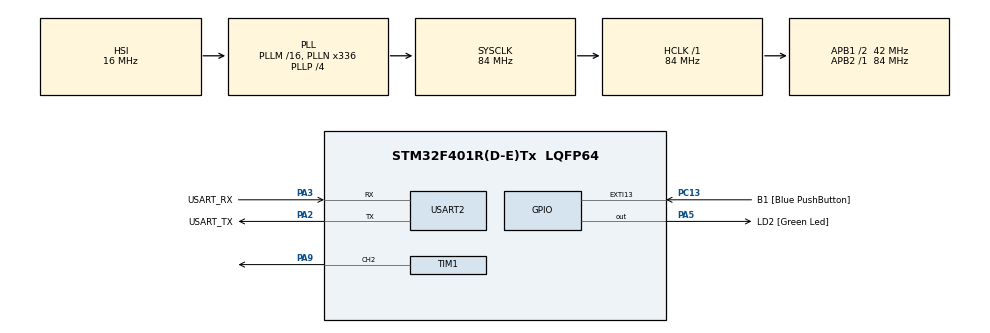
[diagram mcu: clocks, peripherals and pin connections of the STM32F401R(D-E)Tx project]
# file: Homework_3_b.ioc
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Mcu.Family=STM32F4
Mcu.Name=STM32F401R(D-E)Tx
Mcu.Package=LQFP64
NVIC.PriorityGroup=NVIC_PRIORITYGROUP_0
NVIC.TIM3_IRQn=true\:0\:0\:false\:false\:true\:true\:true\:true
PA13.GPIO_Label=TMS
PA13.Mode=Serial_Wire
PA13.Signal=SYS_JTMS-SWDIO
PA14.GPIO_Label=TCK
PA14.Mode=Serial_Wire
PA14.Signal=SYS_JTCK-SWCLK
PA2.GPIO_Label=USART_TX
PA2.GPIO_Mode=GPIO_MODE_AF_PP
PA2.GPIO_PuPd=GPIO_NOPULL
PA2.GPIO_Speed=GPIO_SPEED_FREQ_LOW
PA2.Mode=Asynchronous
PA2.Signal=USART2_TX
PA3.GPIO_Label=USART_RX
PA3.GPIO_Mode=GPIO_MODE_AF_PP
PA3.GPIO_PuPd=GPIO_NOPULL
PA3.GPIO_Speed=GPIO_SPEED_FREQ_LOW
PA3.Mode=Asynchronous
PA3.Signal=USART2_RX
PA5.GPIO_Label=LD2 [Green Led]
PA5.GPIO_Mode=GPIO_MODE_OUTPUT_PP
PA5.GPIO_PuPd=GPIO_NOPULL
PA5.GPIO_Speed=GPIO_SPEED_FREQ_LOW
PA5.Signal=GPIO_Output
PA9.Signal=S_TIM1_CH2
PB3.GPIO_Label=SWO
PB3.Signal=SYS_JTDO-SWO
PC13-ANTI_TAMP.GPIO_Label=B1 [Blue PushButton]
PC13-ANTI_TAMP.GPIO_ModeDefaultEXTI=GPIO_MODE_IT_FALLING
PC13-ANTI_TAMP.GPIO_PuPd=GPIO_NOPULL
PC13-ANTI_TAMP.Signal=GPXTI13
PC14-OSC32_IN.Mode=LSE-External-Oscillator
PC14-OSC32_IN.Signal=RCC_OSC32_IN
PC15-OSC32_OUT.Mode=LSE-External-Oscillator
PC15-OSC32_OUT.Signal=RCC_OSC32_OUT
PH0\ -\ OSC_IN.Mode=HSE-External-Clock-Source
PH0\ -\ OSC_IN.Signal=RCC_OSC_IN
PH1\ -\ OSC_OUT.Mode=HSE-External-Clock-Source
PH1\ -\ OSC_OUT.Signal=RCC_OSC_OUT
ProjectManager.HeapSize=0x200
ProjectManager.StackSize=0x400
ProjectManager.TargetToolchain=STM32CubeIDE
RCC.48MHZClocksFreq_Value=48000000
RCC.AHBFreq_Value=84000000
RCC.APB1CLKDivider=RCC_HCLK_DIV2
RCC.APB1Freq_Value=42000000
RCC.APB1TimFreq_Value=84000000
RCC.APB2Freq_Value=84000000
RCC.APB2TimFreq_Value=84000000
RCC.CortexFreq_Value=84000000
RCC.HCLKFreq_Value=84000000
RCC.HSE_VALUE=8000000
RCC.HSI_VALUE=16000000
RCC.PLLN=336
RCC.PLLP=RCC_PLLP_DIV4
RCC.PLLQ=7
RCC.SYSCLKFreq_VALUE=84000000
RCC.SYSCLKSource=RCC_SYSCLKSOURCE_PLLCLK
RCC.VCOOutputFreq_Value=336000000
SH.S_TIM1_CH2.0=TIM1_CH2,PWM Generation2 CH2
TIM1.Channel-PWM\ Generation2\ CH2=TIM_CHANNEL_2
TIM1.Period=1908
TIM1.Prescaler=99
TIM1.Pulse-PWM\ Generation2\ CH2=954
TIM3.Period=9999
TIM3.Prescaler=8399
TIM3.TIM_MasterOutputTrigger=TIM_TRGO_UPDATE
USART2.VirtualMode=VM_ASYNC
VP_TIM1_VS_ClockSourceINT.Mode=Internal
VP_TIM3_VS_ClockSourceINT.Mode=Internal
board=NUCLEO-F401RE

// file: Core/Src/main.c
/* USER CODE BEGIN Header */
/**
  ******************************************************************************
  * @file           : main.c
  * @brief          : Main program body
  ******************************************************************************
  * @attention
  *
  * Copyright (c) 2024 STMicroelectronics.
  * All rights reserved.
  *
  * This software is licensed under terms that can be found in the LICENSE file
  * in the root directory of this software component.
  * If no LICENSE file comes with this software, it is provided AS-IS.
  *
  ******************************************************************************
  */
/* USER CODE END Header */
#include "main.h"

/* USER CODE BEGIN PTD */

struct note
{
	int tone;
	int duration;
};

/* USER CODE END PTD */

/* USER CODE BEGIN PD */

#define DO4		3205
#define DOD4	3031
#define RE4		2856
#define RED4 	2699
#define MI4		2544
#define FA4		2405
#define FAD4	2269
#define SOL4 	2141
#define SOLD4	2141
#define LA4 	1908
#define LAD4	1801
#define SI4		1699

#define TEMPO	75

#define GREEN_LED_PIN GPIOA, GPIO_PIN_5

/* USER CODE END PD */

TIM_HandleTypeDef htim1;
TIM_HandleTypeDef htim3;

UART_HandleTypeDef huart2;

/* USER CODE BEGIN PV */

/** London Bridge Partition **/
struct note partition [] =
{
		{SOL4, 6},
		{LA4, 2},
		{SOL4, 4},
		{FA4, 4},
		{MI4, 4},
		{FA4, 4},
		{SOL4, 8},
		{RE4, 4},
		{MI4, 4},
		{FA4, 8},
		{MI4, 4},
		{FA4, 4},
		{SOL4, 8},
		{SOL4, 6},
		{LA4, 2},
		{SOL4, 4},
		{FA4, 4},
		{MI4, 4},
		{FA4, 4},
		{SOL4, 8},
		{RE4, 8},
		{SOL4, 8},
		{MI4, 4},
		{DO4, 12},
};

/* USER CODE END PV */

void SystemClock_Config(void);
static void MX_GPIO_Init(void);
static void MX_USART2_UART_Init(void);
static void MX_TIM1_Init(void);
static void MX_TIM3_Init(void);

/* USER CODE BEGIN 0 */

uint8_t flag_timer = 0; // Timer flag

/**
 * Reconfigure the TIMER with the correct parameters
 */
void SetTone (int tone) {
 __HAL_TIM_SET_AUTORELOAD(&htim1, tone);               // Change the freq
 __HAL_TIM_SET_COMPARE(&htim1, TIM_CHANNEL_2, tone / 2);  // DC of 0.5
 __HAL_TIM_SET_COUNTER(&htim1, 0);
}

/**
 * Copied from MX_TIM1_INIT and modified
 *
 * @note_playing	The note played from the partition
 **/
void PlayNote(struct note note_playing)
{
  TIM_ClockConfigTypeDef sClockSourceConfig = {0};
  TIM_MasterConfigTypeDef sMasterConfig = {0};
  TIM_OC_InitTypeDef sConfigOC = {0};

  htim1.Instance = TIM1;
  htim1.Init.Prescaler = 99;
  htim1.Init.CounterMode = TIM_COUNTERMODE_UP;
  htim1.Init.Period = note_playing.tone;
  htim1.Init.ClockDivision = TIM_CLOCKDIVISION_DIV1;
  htim1.Init.RepetitionCounter = 0;
  htim1.Init.AutoReloadPreload = TIM_AUTORELOAD_PRELOAD_DISABLE;
  if (HAL_TIM_Base_Init(&htim1) != HAL_OK)
  {
    Error_Handler();
  }
  sClockSourceConfig.ClockSource = TIM_CLOCKSOURCE_INTERNAL;
  if (HAL_TIM_ConfigClockSource(&htim1, &sClockSourceConfig) != HAL_OK)
  {
    Error_Handler();
  }
  if (HAL_TIM_PWM_Init(&htim1) != HAL_OK)
  {
    Error_Handler();
  }
  sMasterConfig.MasterOutputTrigger = TIM_TRGO_RESET;
  sMasterConfig.MasterSlaveMode = TIM_MASTERSLAVEMODE_DISABLE;
  if (HAL_TIMEx_MasterConfigSynchronization(&htim1, &sMasterConfig) != HAL_OK)
  {
    Error_Handler();
  }
  sConfigOC.OCMode = TIM_OCMODE_PWM1;
  sConfigOC.Pulse = note_playing.tone / 2;
  sConfigOC.OCPolarity = TIM_OCPOLARITY_HIGH;
  sConfigOC.OCNPolarity = TIM_OCNPOLARITY_HIGH;
  sConfigOC.OCFastMode = TIM_OCFAST_DISABLE;
  sConfigOC.OCIdleState = TIM_OCIDLESTATE_RESET;
  sConfigOC.OCNIdleState = TIM_OCNIDLESTATE_RESET;
  if (HAL_TIM_PWM_ConfigChannel(&htim1, &sConfigOC, TIM_CHANNEL_2) != HAL_OK)
  {
    Error_Handler();
  }

  SetTone(note_playing.tone);
   HAL_TIM_PWM_Start(&htim1, TIM_CHANNEL_2);
   flag_timer = 0;
   __HAL_TIM_SET_AUTORELOAD(&htim3, (TEMPO * 10 * note_playing.duration) - 1);
   HAL_TIM_Base_Start_IT(&htim3);
   while (flag_timer == 0) {
   }
   HAL_TIM_PWM_Stop(&htim1, TIM_CHANNEL_2);
   HAL_TIM_Base_Stop_IT(&htim3);
}

/**
 * @brief Play the music
 **/
void PlayMusic(void)
{
	int length = sizeof(partition) / sizeof(partition[0]); // Get the number of notes in the partition

	for (int i = 0; i < length; i++)
	{
		PlayNote(partition[i]); 	// For each notes
	}
}

/**
 * @brief Callback function for Timer 3
 *
 * @param htim The timer
 */
void HAL_TIM_PeriodElapsedCallback(TIM_HandleTypeDef *htim)
{
   // Check if it's TIM3 that caused the interrupt
   if (htim->Instance == TIM3)
   {
	   // Toggle the LED pin
	   HAL_GPIO_TogglePin(GREEN_LED_PIN);
	   // pull up the timer flag to exit the while loop in PlayNote
	   flag_timer = 1;
   }
}

/* USER CODE END 0 */

int main(void)
{

  /* MCU Configuration--------------------------------------------------------*/

  /* Reset of all peripherals, Initializes the Flash interface and the Systick. */
  HAL_Init();

  /* Configure the system clock */
  SystemClock_Config();

  /* Initialize all configured peripherals */
  MX_GPIO_Init();
  MX_USART2_UART_Init();
  MX_TIM1_Init();
  MX_TIM3_Init();
  /* USER CODE BEGIN 2 */
  HAL_TIM_Base_Start_IT(&htim3); 					// Start the timer in interruption mode
  PlayMusic();				/** Start the music **/
  /* USER CODE END 2 */

  /* Infinite loop */
  while (1)
  {

  }
}

void SystemClock_Config(void)
{
  RCC_OscInitTypeDef RCC_OscInitStruct = {0};
  RCC_ClkInitTypeDef RCC_ClkInitStruct = {0};

  /** Configure the main internal regulator output voltage
  */
  __HAL_RCC_PWR_CLK_ENABLE();
  __HAL_PWR_VOLTAGESCALING_CONFIG(PWR_REGULATOR_VOLTAGE_SCALE2);

  /** Initializes the RCC Oscillators according to the specified parameters
  * in the RCC_OscInitTypeDef structure.
  */
  RCC_OscInitStruct.OscillatorType = RCC_OSCILLATORTYPE_HSI;
  RCC_OscInitStruct.HSIState = RCC_HSI_ON;
  RCC_OscInitStruct.HSICalibrationValue = RCC_HSICALIBRATION_DEFAULT;
  RCC_OscInitStruct.PLL.PLLState = RCC_PLL_ON;
  RCC_OscInitStruct.PLL.PLLSource = RCC_PLLSOURCE_HSI;
  RCC_OscInitStruct.PLL.PLLM = 16;
  RCC_OscInitStruct.PLL.PLLN = 336;
  RCC_OscInitStruct.PLL.PLLP = RCC_PLLP_DIV4;
  RCC_OscInitStruct.PLL.PLLQ = 7;
  if (HAL_RCC_OscConfig(&RCC_OscInitStruct) != HAL_OK)
  {
    Error_Handler();
  }

  /** Initializes the CPU, AHB and APB buses clocks
  */
  RCC_ClkInitStruct.ClockType = RCC_CLOCKTYPE_HCLK|RCC_CLOCKTYPE_SYSCLK
                              |RCC_CLOCKTYPE_PCLK1|RCC_CLOCKTYPE_PCLK2;
  RCC_ClkInitStruct.SYSCLKSource = RCC_SYSCLKSOURCE_PLLCLK;
  RCC_ClkInitStruct.AHBCLKDivider = RCC_SYSCLK_DIV1;
  RCC_ClkInitStruct.APB1CLKDivider = RCC_HCLK_DIV2;
  RCC_ClkInitStruct.APB2CLKDivider = RCC_HCLK_DIV1;

  if (HAL_RCC_ClockConfig(&RCC_ClkInitStruct, FLASH_LATENCY_2) != HAL_OK)
  {
    Error_Handler();
  }
}

static void MX_TIM1_Init(void)
{

  TIM_ClockConfigTypeDef sClockSourceConfig = {0};
  TIM_MasterConfigTypeDef sMasterConfig = {0};
  TIM_OC_InitTypeDef sConfigOC = {0};
  TIM_BreakDeadTimeConfigTypeDef sBreakDeadTimeConfig = {0};

  htim1.Instance = TIM1;
  htim1.Init.Prescaler = 99;
  htim1.Init.CounterMode = TIM_COUNTERMODE_UP;
  htim1.Init.Period = 1908;
  htim1.Init.ClockDivision = TIM_CLOCKDIVISION_DIV1;
  htim1.Init.RepetitionCounter = 0;
  htim1.Init.AutoReloadPreload = TIM_AUTORELOAD_PRELOAD_DISABLE;
  if (HAL_TIM_Base_Init(&htim1) != HAL_OK)
  {
    Error_Handler();
  }
  sClockSourceConfig.ClockSource = TIM_CLOCKSOURCE_INTERNAL;
  if (HAL_TIM_ConfigClockSource(&htim1, &sClockSourceConfig) != HAL_OK)
  {
    Error_Handler();
  }
  if (HAL_TIM_PWM_Init(&htim1) != HAL_OK)
  {
    Error_Handler();
  }
  sMasterConfig.MasterOutputTrigger = TIM_TRGO_RESET;
  sMasterConfig.MasterSlaveMode = TIM_MASTERSLAVEMODE_DISABLE;
  if (HAL_TIMEx_MasterConfigSynchronization(&htim1, &sMasterConfig) != HAL_OK)
  {
    Error_Handler();
  }
  sConfigOC.OCMode = TIM_OCMODE_PWM1;
  sConfigOC.Pulse = 954;
  sConfigOC.OCPolarity = TIM_OCPOLARITY_HIGH;
  sConfigOC.OCNPolarity = TIM_OCNPOLARITY_HIGH;
  sConfigOC.OCFastMode = TIM_OCFAST_DISABLE;
  sConfigOC.OCIdleState = TIM_OCIDLESTATE_RESET;
  sConfigOC.OCNIdleState = TIM_OCNIDLESTATE_RESET;
  if (HAL_TIM_PWM_ConfigChannel(&htim1, &sConfigOC, TIM_CHANNEL_2) != HAL_OK)
  {
    Error_Handler();
  }
  sBreakDeadTimeConfig.OffStateRunMode = TIM_OSSR_DISABLE;
  sBreakDeadTimeConfig.OffStateIDLEMode = TIM_OSSI_DISABLE;
  sBreakDeadTimeConfig.LockLevel = TIM_LOCKLEVEL_OFF;
  sBreakDeadTimeConfig.DeadTime = 0;
  sBreakDeadTimeConfig.BreakState = TIM_BREAK_DISABLE;
  sBreakDeadTimeConfig.BreakPolarity = TIM_BREAKPOLARITY_HIGH;
  sBreakDeadTimeConfig.AutomaticOutput = TIM_AUTOMATICOUTPUT_DISABLE;
  if (HAL_TIMEx_ConfigBreakDeadTime(&htim1, &sBreakDeadTimeConfig) != HAL_OK)
  {
    Error_Handler();
  }
  HAL_TIM_MspPostInit(&htim1);

}

static void MX_TIM3_Init(void)
{

  TIM_ClockConfigTypeDef sClockSourceConfig = {0};
  TIM_MasterConfigTypeDef sMasterConfig = {0};

  htim3.Instance = TIM3;
  htim3.Init.Prescaler = 8399;
  htim3.Init.CounterMode = TIM_COUNTERMODE_UP;
  htim3.Init.Period = 9999;
  htim3.Init.ClockDivision = TIM_CLOCKDIVISION_DIV1;
  htim3.Init.AutoReloadPreload = TIM_AUTORELOAD_PRELOAD_DISABLE;
  if (HAL_TIM_Base_Init(&htim3) != HAL_OK)
  {
    Error_Handler();
  }
  sClockSourceConfig.ClockSource = TIM_CLOCKSOURCE_INTERNAL;
  if (HAL_TIM_ConfigClockSource(&htim3, &sClockSourceConfig) != HAL_OK)
  {
    Error_Handler();
  }
  sMasterConfig.MasterOutputTrigger = TIM_TRGO_UPDATE;
  sMasterConfig.MasterSlaveMode = TIM_MASTERSLAVEMODE_DISABLE;
  if (HAL_TIMEx_MasterConfigSynchronization(&htim3, &sMasterConfig) != HAL_OK)
  {
    Error_Handler();
  }

}

static void MX_USART2_UART_Init(void)
{

  huart2.Instance = USART2;
  huart2.Init.BaudRate = 115200;
  huart2.Init.WordLength = UART_WORDLENGTH_8B;
  huart2.Init.StopBits = UART_STOPBITS_1;
  huart2.Init.Parity = UART_PARITY_NONE;
  huart2.Init.Mode = UART_MODE_TX_RX;
  huart2.Init.HwFlowCtl = UART_HWCONTROL_NONE;
  huart2.Init.OverSampling = UART_OVERSAMPLING_16;
  if (HAL_UART_Init(&huart2) != HAL_OK)
  {
    Error_Handler();
  }

}

static void MX_GPIO_Init(void)
{
  GPIO_InitTypeDef GPIO_InitStruct = {0};

  /* GPIO Ports Clock Enable */
  __HAL_RCC_GPIOC_CLK_ENABLE();
  __HAL_RCC_GPIOH_CLK_ENABLE();
  __HAL_RCC_GPIOA_CLK_ENABLE();
  __HAL_RCC_GPIOB_CLK_ENABLE();

  /*Configure GPIO pin Output Level */
  HAL_GPIO_WritePin(LD2_GPIO_Port, LD2_Pin, GPIO_PIN_RESET);

  /*Configure GPIO pin : B1_Pin */
  GPIO_InitStruct.Pin = B1_Pin;
  GPIO_InitStruct.Mode = GPIO_MODE_IT_FALLING;
  GPIO_InitStruct.Pull = GPIO_NOPULL;
  HAL_GPIO_Init(B1_GPIO_Port, &GPIO_InitStruct);

  /*Configure GPIO pin : LD2_Pin */
  GPIO_InitStruct.Pin = LD2_Pin;
  GPIO_InitStruct.Mode = GPIO_MODE_OUTPUT_PP;
  GPIO_InitStruct.Pull = GPIO_NOPULL;
  GPIO_InitStruct.Speed = GPIO_SPEED_FREQ_LOW;
  HAL_GPIO_Init(LD2_GPIO_Port, &GPIO_InitStruct);

}

void Error_Handler(void)
{
  __disable_irq();
  while (1)
  {
  }
}
